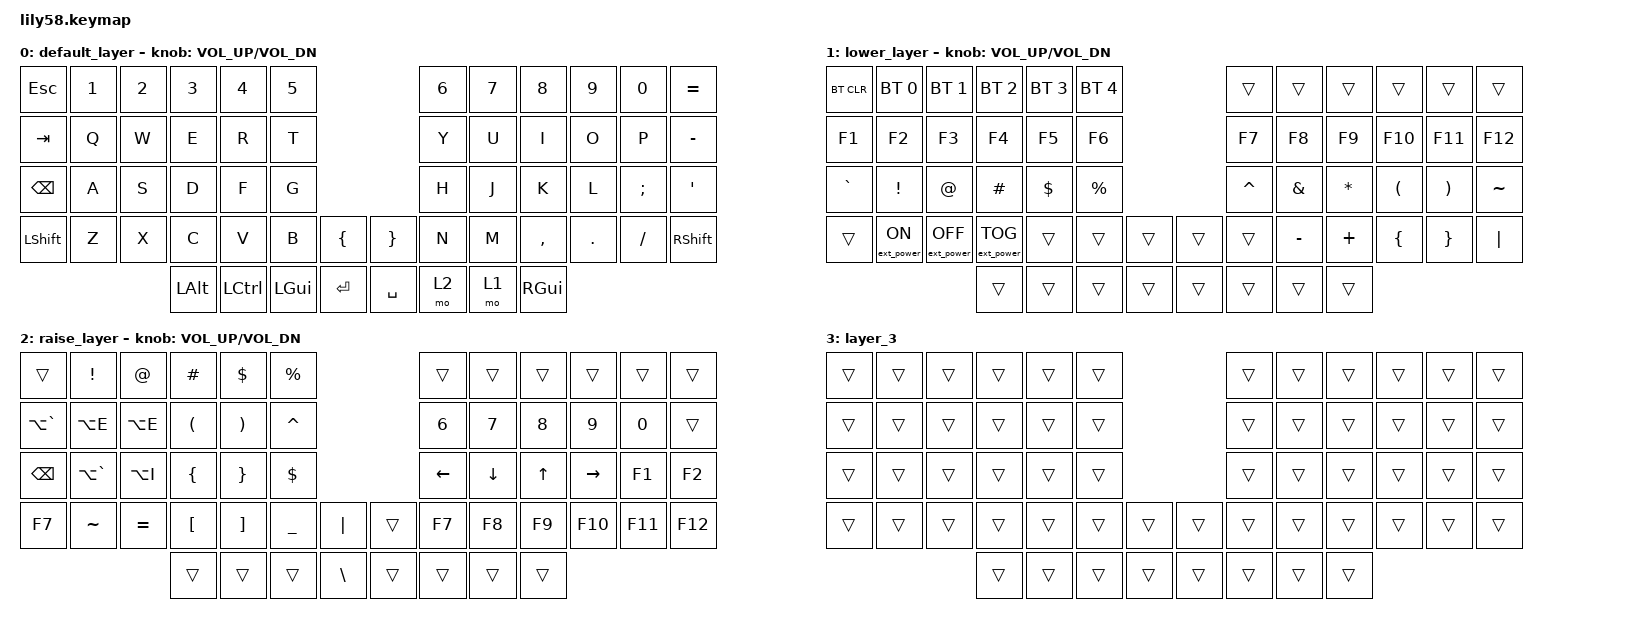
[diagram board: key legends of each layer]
/*
 * Copyright (c) 2020 The ZMK Contributors
 *
 * SPDX-License-Identifier: MIT
 */

#include <behaviors.dtsi>
#include <dt-bindings/zmk/bt.h>
#include <dt-bindings/zmk/ext_power.h>
#include <dt-bindings/zmk/keys.h>

/ {
    keymap {
        compatible = "zmk,keymap";

        default_layer {
            // ------------------------------------------------------------------------------------------------------------
            // |  ESC  |  1  |  2  |  3   |  4   |  5   |                   |  6   |  7    |  8    |  9   |   0   |   `   |
            // |  TAB  |  Q  |  W  |  E   |  R   |  T   |                   |  Y   |  U    |  I    |  O   |   P   |   -   |
            // |  BSPC |  A  |  S  |  D   |  F   |  G   |                   |  H   |  J    |  K    |  L   |   ;   |   '   |
            // | SHIFT |  Z  |  X  |  C   |  V   |  B   |   "["  |  |  "]"  |  N   |  M    |  ,    |  .   |   /   | SHIFT |
            //                     | ALT  | CTRL | GUI  |  ENTER |  | SPACE | RAISE| LOWER | GUI   |

            bindings = <
&kp ESC    &kp N1  &kp N2  &kp N3    &kp N4     &kp N5                           &kp N6  &kp N7  &kp N8     &kp N9   &kp N0    &kp EQUAL
&kp TAB    &kp Q   &kp W   &kp E     &kp R      &kp T                            &kp Y   &kp U   &kp I      &kp O    &kp P     &kp MINUS
&kp BSPC   &kp A   &kp S   &kp D     &kp F      &kp G                            &kp H   &kp J   &kp K      &kp L    &kp SEMI  &kp SQT
&kp LSHFT  &kp Z   &kp X   &kp C     &kp V      &kp B     &kp LBRC    &kp RBRC   &kp N   &kp M   &kp COMMA  &kp DOT  &kp FSLH  &kp RSHFT
                           &kp LALT  &kp LCTRL  &kp LGUI  &kp RET     &kp SPACE  &mo 2   &mo 1   &kp RGUI
            >;

            sensor-bindings = <&inc_dec_kp C_VOL_UP C_VOL_DN>;
        };

        lower_layer {
            // ------------------------------------------------------------------------------------------------------------
            // | BTCLR | BT1 | BT2 |  BT3 |  BT4 |  BT5 |                   |      |       |       |      |       |       |
            // |  F1   |  F2 |  F3 |  F4  |  F5  |  F6  |                   |  F7  |  F8   |  F9   |  F10 |  F11  |  F12  |
            // |   `   |  !  |  @  |  #   |  $   |  %   |                   |  ^   |  &    |  *    |  (   |   )   |   ~   |
            // |       |     |     |      |      |      |        |  |       |      |  _    |  +    |  {   |   }   |  "|"  |
            //                     |      |      |      |        |  |       |      |       |       |

            bindings = <
&bt BT_CLR  &bt BT_SEL 0      &bt BT_SEL 1       &bt BT_SEL 2       &bt BT_SEL 3  &bt BT_SEL 4                    &trans     &trans     &trans     &trans    &trans    &trans
&kp F1      &kp F2            &kp F3             &kp F4             &kp F5        &kp F6                          &kp F7     &kp F8     &kp F9     &kp F10   &kp F11   &kp F12
&kp GRAVE   &kp EXCL          &kp AT             &kp HASH           &kp DOLLAR    &kp PRCNT                       &kp CARET  &kp AMPS   &kp ASTRK  &kp LPAR  &kp RPAR  &kp TILDE
&trans      &ext_power EP_ON  &ext_power EP_OFF  &ext_power EP_TOG  &trans        &trans        &trans    &trans  &trans     &kp MINUS  &kp PLUS   &kp LBRC  &kp RBRC  &kp PIPE
                                                 &trans             &trans        &trans        &trans    &trans  &trans     &trans     &trans
            >;

            sensor-bindings = <&inc_dec_kp C_VOL_UP C_VOL_DN>;
        };

        raise_layer {
            // ------------------------------------------------------------------------------------------------------------
            // |       |     |     |      |      |      |                   |      |       |       |      |       |       |
            // |   `   |  1  |  2  |  3   |  4   |  5   |                   |  6   |   7   |   8   |  9   |   0   |       |
            // |   F1  |  F2 |  F3 |  F4  |  F5  |  F6  |                   |   <- |   v   |  ^    |  ->  |       |       |
            // |   F7  |  F8 |  F9 |  F10 |  F11 |  F12 |        |  |       |  +   |   -   |   =   |  [   |   ]   |   \   |
            //                     |      |      |      |        |  |       |      |       |       |

            bindings = <
&trans         &kp EXCL       &kp AT     &kp HASH  &kp DLLR  &kp PRCNT                            &trans    &trans    &trans  &trans     &trans   &trans
&kp LA(GRAVE)  &kp LA(E)      &kp LA(E)  &kp LPAR  &kp RPAR  &kp CARET                            &kp N6    &kp N7    &kp N8  &kp N9     &kp N0   &trans
&kp BSPC       &kp LA(GRAVE)  &kp LA(I)  &kp LBRC  &kp RBRC  &kp DOLLAR                           &kp LEFT  &kp DOWN  &kp UP  &kp RIGHT  &kp F1   &kp F2
&kp F7         &kp TILDE      &kp EQUAL  &kp LBKT  &kp RBKT  &kp UNDER   &kp PIPE         &trans  &kp F7    &kp F8    &kp F9  &kp F10    &kp F11  &kp F12
                                         &trans    &trans    &trans      &kp BACKSLASH    &trans  &trans    &trans    &trans
            >;

            sensor-bindings = <&inc_dec_kp C_VOL_UP C_VOL_DN>;
        };

        layer_3 {
            bindings = <
&trans  &trans  &trans  &trans  &trans  &trans                    &trans  &trans  &trans  &trans  &trans  &trans
&trans  &trans  &trans  &trans  &trans  &trans                    &trans  &trans  &trans  &trans  &trans  &trans
&trans  &trans  &trans  &trans  &trans  &trans                    &trans  &trans  &trans  &trans  &trans  &trans
&trans  &trans  &trans  &trans  &trans  &trans  &trans    &trans  &trans  &trans  &trans  &trans  &trans  &trans
                        &trans  &trans  &trans  &trans    &trans  &trans  &trans  &trans
            >;
        };
    };
};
